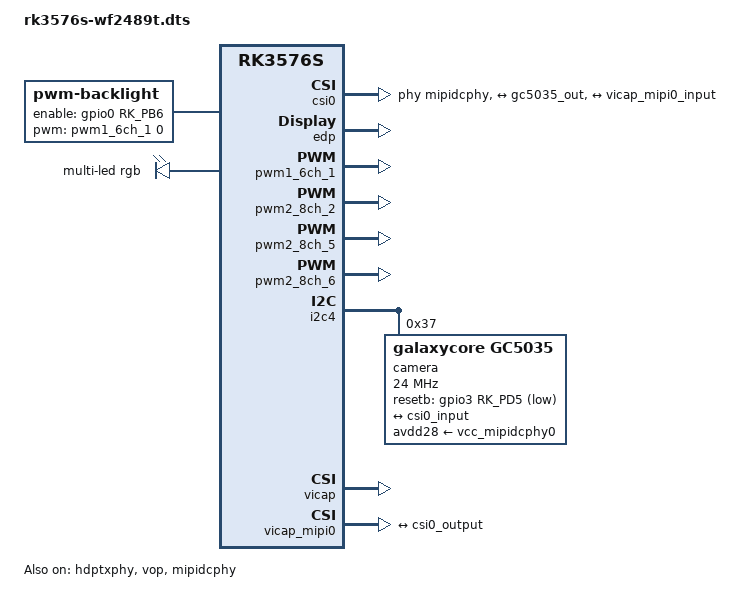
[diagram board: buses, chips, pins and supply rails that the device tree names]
// SPDX-License-Identifier: (GPL-2.0+ OR MIT)
/*
 * WF2489T wall tablet: board hardware plus the eDP display path, the PWM
 * backlight and the LED ring (both need the RK3576 PWM driver, which U-Boot
 * does not have).
 */

/dts-v1/;

#include <dt-bindings/media/video-interfaces.h>
#include "rk3576s-wf2489t.dtsi"

&edp {
	force-hpd;
	status = "okay";

	aux-bus {
		panel {
			compatible = "edp-panel";
			backlight = <&backlight>;
			power-supply = <&vcc3v3_lcd_edp>;
			no-hpd;

			port {
				panel_in_edp: endpoint {
					remote-endpoint = <&edp_out_panel>;
				};
			};
		};
	};
};

&edp_in {
	edp_in_vp0: endpoint {
		remote-endpoint = <&vp0_out_edp>;
	};
};

&edp_out {
	edp_out_panel: endpoint {
		remote-endpoint = <&panel_in_edp>;
	};
};

&hdptxphy {
	status = "okay";
};

&vop {
	status = "okay";
};

&vop_mmu {
	status = "okay";
};

&vp0 {
	vp0_out_edp: endpoint@ROCKCHIP_VOP2_EP_EDP0 {
		reg = <ROCKCHIP_VOP2_EP_EDP0>;
		remote-endpoint = <&edp_in_vp0>;
	};
};

/ {
	/* PWM1 channel 1 on GPIO0_B5, 17.9 kHz, levels as on stock */
	backlight: backlight {
		compatible = "pwm-backlight";
		pwms = <&pwm1_6ch_1 0 56000 0>;
		enable-gpios = <&gpio0 RK_PB6 GPIO_ACTIVE_HIGH>;
		pinctrl-names = "default";
		pinctrl-0 = <&bl_en>;
		default-brightness-level = <200>;
		brightness-levels = <
			0 20 20 21 21 22 22 23 23 24 24 25 25 26 26 27
			27 28 28 29 29 30 30 31 31 32 32 33 33 34 34 35
			35 36 36 37 37 38 38 39 40 41 42 43 44 45 46 47
			48 49 50 51 52 53 54 55 56 57 58 59 60 61 62 63
			64 65 66 67 68 69 70 71 72 73 74 75 76 77 78 79
			80 81 82 83 84 85 86 87 88 89 90 91 92 93 94 95
			96 97 98 99 100 101 102 103 104 105 106 107 108 109 110 111
			112 113 114 115 116 117 118 119 120 121 122 123 124 125 126 127
			128 129 130 131 132 133 134 135 136 137 138 139 140 141 142 143
			144 145 146 147 148 149 150 151 152 153 154 155 156 157 158 159
			160 161 162 163 164 165 166 167 168 169 170 171 172 173 174 175
			176 177 178 179 180 181 182 183 184 185 186 187 188 189 190 191
			192 193 194 195 196 197 198 199 200 201 202 203 204 205 206 207
			208 209 210 211 212 213 214 215 216 217 218 219 220 221 222 223
			224 225 226 227 228 229 230 231 232 233 234 235 236 237 238 239
			240 241 242 243 244 245 246 247 248 249 250 251 252 253 254 255>;
	};

	/* LED ring: one RGB LED on PWM2 channels 6/2/5 (1 kHz, as on stock) */
	led-ring {
		compatible = "pwm-leds-multicolor";

		multi-led {
			color = <LED_COLOR_ID_RGB>;
			function = LED_FUNCTION_STATUS;
			max-brightness = <255>;

			led-red {
				color = <LED_COLOR_ID_RED>;
				pwms = <&pwm2_8ch_6 0 1000000 0>;
			};

			led-green {
				color = <LED_COLOR_ID_GREEN>;
				pwms = <&pwm2_8ch_2 0 1000000 0>;
			};

			led-blue {
				color = <LED_COLOR_ID_BLUE>;
				pwms = <&pwm2_8ch_5 0 1000000 0>;
			};
		};
	};
};

&pwm1_6ch_1 {
	status = "okay";
};

&pwm2_8ch_2 {
	pinctrl-0 = <&pwm2m1_ch2>;
	status = "okay";
};

&pwm2_8ch_5 {
	pinctrl-0 = <&pwm2m1_ch5>;
	status = "okay";
};

&pwm2_8ch_6 {
	pinctrl-0 = <&pwm2m1_ch6>;
	status = "okay";
};

/* front camera: GalaxyCore GC5035 (5 MP raw Bayer, 2-lane MIPI CSI-2 on the DC-PHY) */
&i2c4 {
	camera@37 {
		compatible = "galaxycore,gc5035";
		reg = <0x37>;
		clocks = <&cru CLK_MIPI_CAMERAOUT_M0>;
		clock-names = "mclk";
		clock-frequency = <24000000>;
		pinctrl-names = "default";
		pinctrl-0 = <&cam_clk0m0_clk0>;
		resetb-gpios = <&gpio3 RK_PD5 GPIO_ACTIVE_LOW>;
		avdd28-supply = <&vcc_mipidcphy0>;

		port {
			gc5035_out: endpoint {
				data-lanes = <1 2>;
				link-frequencies = /bits/ 64 <438000000>;
				remote-endpoint = <&csi0_input>;
			};
		};
	};
};

/ {
	/*
	 * MIPI CSI-2 receiver 0, fed by the MIPI DC-PHY (not in rk3576.dtsi:
	 * the DC-PHY needs the receive mode from kernel/patches)
	 */
	csi0: csi@27c80000 {
		compatible = "rockchip,rk3576-mipi-csi2", "rockchip,rk3568-mipi-csi2";
		reg = <0x0 0x27c80000 0x0 0x10000>;
		interrupts = <GIC_SPI 312 IRQ_TYPE_LEVEL_HIGH>,
			     <GIC_SPI 313 IRQ_TYPE_LEVEL_HIGH>;
		interrupt-names = "err1", "err2";
		clocks = <&cru PCLK_CSI_HOST_0>, <&cru ICLK_CSIHOST0>;
		clock-names = "per", "pixel";
		phys = <&mipidcphy PHY_TYPE_DPHY>;
		power-domains = <&power RK3576_PD_VI>;
		resets = <&cru SRST_P_CSI_HOST_0>;

		ports {
			#address-cells = <1>;
			#size-cells = <0>;

			port@0 {
				reg = <0>;

				csi0_input: endpoint {
					bus-type = <MEDIA_BUS_TYPE_CSI2_DPHY>;
					data-lanes = <1 2>;
					remote-endpoint = <&gc5035_out>;
				};
			};

			port@1 {
				reg = <1>;

				csi0_output: endpoint {
					remote-endpoint = <&vicap_mipi0_input>;
				};
			};
		};
	};
};

&mipidcphy {
	status = "okay";
};

&vicap {
	status = "okay";
};

&vicap_mipi0 {
	vicap_mipi0_input: endpoint {
		remote-endpoint = <&csi0_output>;
	};
};

&vicap_mmu {
	status = "okay";
};
